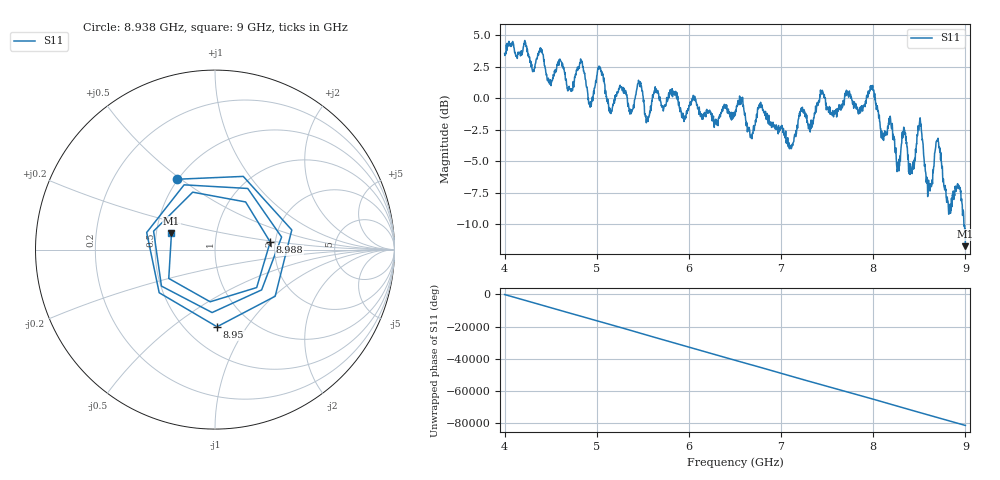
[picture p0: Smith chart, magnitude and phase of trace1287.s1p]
! Created with skrf 1.8.0 (http://scikit-rf.org).
# Hz S RI R 50.0
!freq ReS11 ImS11
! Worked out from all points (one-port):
!   1601 points, 4 GHz to 9 GHz, reference 50 ohm
!   lowest |S11| = -11.7 dB at 9 GHz (marker M1), VSWR 1.70, Z = 30 + j5.94 ohm
!   |S11| at or under -10 dB: 8.983924 GHz to end of sweep
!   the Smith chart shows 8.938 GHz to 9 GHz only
!   S11 on the Smith chart (normalised r, x): 8.938 GHz: 0.50, +0.48; 8.95 GHz: 0.70, -0.74; 8.988 GHz: 1.88, +0.18; 9 GHz: 0.60, +0.12
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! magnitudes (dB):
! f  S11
! 4 GHz  3.6
! 4.625 GHz  2.5
! 4.709 GHz  0.8
! 4.838 GHz  2.8
! 4.931 GHz  -0.6
! 5.025 GHz  2.6
! 5.147 GHz  -0.9
! 5.25 GHz  1.0
! 5.372 GHz  -1.2
! 5.466 GHz  0.9
! 5.547 GHz  -1.7
! 5.875 GHz  -0.1
! 6.5 GHz  -1.1
! 7.125 GHz  -3.7
! 7.444 GHz  0.4
! 7.75 GHz  0.3
! 7.991 GHz  0.8
! 8.262 GHz  -5.7
! 8.331 GHz  -2.3
! 8.375 GHz  -4.8
! 8.503 GHz  -1.8
! 8.6 GHz  -6.5
! 8.7 GHz  -3.2
! 8.819 GHz  -9.2
! 8.938 GHz  -7.0
! 8.95 GHz  -7.3
! 8.988 GHz  -10.2
! 9 GHz  -11.7
